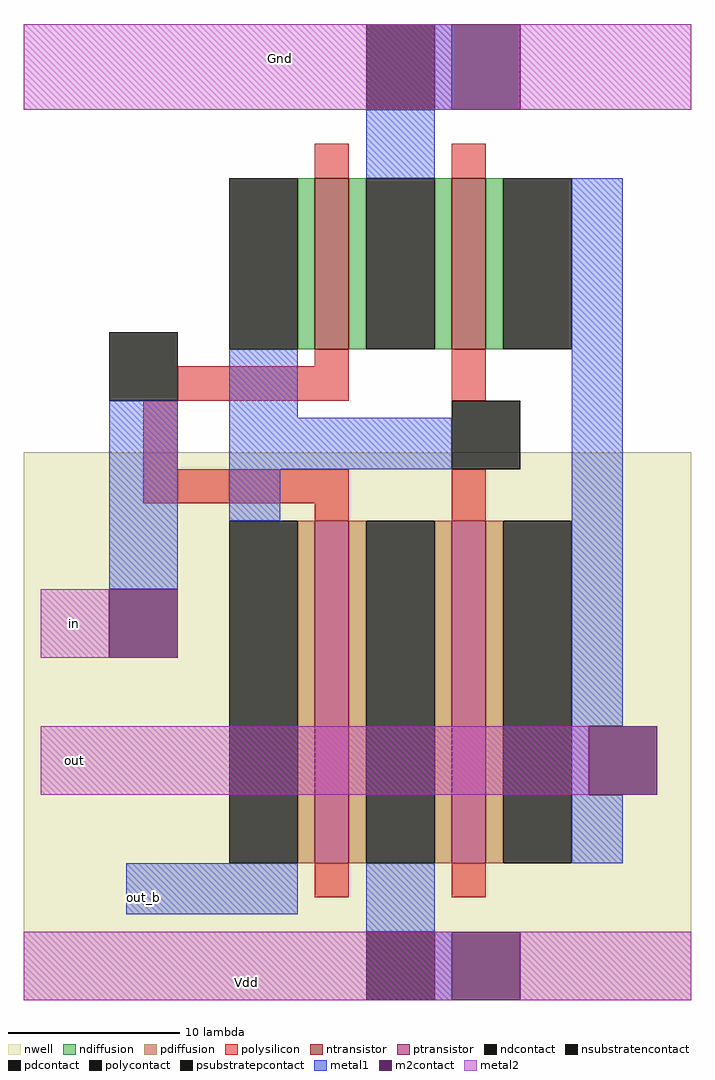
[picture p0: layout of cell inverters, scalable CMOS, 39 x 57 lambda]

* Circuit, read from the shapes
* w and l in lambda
.subckt inverters Gnd Vdd in out out_b
M1 Gnd in out_b Gnd nfet w=10 l=2
M2 out out_b Gnd Gnd nfet w=10 l=2
M3 Vdd in out_b Vdd pfet w=20 l=2
M4 out out_b Vdd Vdd pfet w=20 l=2
.ends

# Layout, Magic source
magic
tech scmos
<< nwell >>
rect -37 -12 2 20
<< polysilicon >>
rect -20 36 -18 38
rect -12 36 -10 38
rect -20 25 -18 26
rect -28 23 -18 25
rect -12 23 -10 26
rect -30 19 -28 23
rect -30 17 -18 19
rect -20 16 -18 17
rect -12 16 -10 19
rect -20 -6 -18 -4
rect -12 -6 -10 -4
<< ndiffusion >>
rect -21 26 -20 36
rect -18 26 -17 36
rect -13 26 -12 36
rect -10 26 -9 36
<< pdiffusion >>
rect -21 -4 -20 16
rect -18 -4 -17 16
rect -13 -4 -12 16
rect -10 -4 -9 16
<< metal1 >>
rect -13 40 -12 45
rect -17 36 -13 40
rect -32 12 -28 23
rect -25 22 -21 26
rect -25 19 -12 22
rect -25 16 -22 19
rect -31 -7 -21 -4
rect -5 4 -2 36
rect -5 0 -4 4
rect -5 -4 -2 0
rect -17 -8 -13 -4
rect -13 -12 -12 -8
<< metal2 >>
rect -37 40 -12 45
rect -8 40 2 45
rect -36 8 -32 12
rect -36 0 -4 4
rect -37 -12 -12 -8
rect -8 -12 2 -8
<< ntransistor >>
rect -20 26 -18 36
rect -12 26 -10 36
<< ptransistor >>
rect -20 -4 -18 16
rect -12 -4 -10 16
<< polycontact >>
rect -32 23 -28 27
rect -12 19 -8 23
<< ndcontact >>
rect -25 26 -21 36
rect -17 26 -13 36
rect -9 26 -5 36
<< pdcontact >>
rect -25 -4 -21 16
rect -17 -4 -13 16
rect -9 -4 -5 16
<< m2contact >>
rect -12 40 -8 45
rect -32 8 -28 12
rect -4 0 0 4
rect -12 -12 -8 -8
<< psubstratepcontact >>
rect -17 40 -13 45
<< nsubstratencontact >>
rect -17 -12 -13 -8
<< labels >>
rlabel metal2 -24 -11 -24 -11 2 Vdd
rlabel metal2 -34 2 -34 2 3 out
rlabel metal2 -34 10 -34 10 3 in
rlabel metal1 -30 -6 -30 -6 1 out_b
rlabel metal2 -22 43 -22 43 4 Gnd
<< end >>
